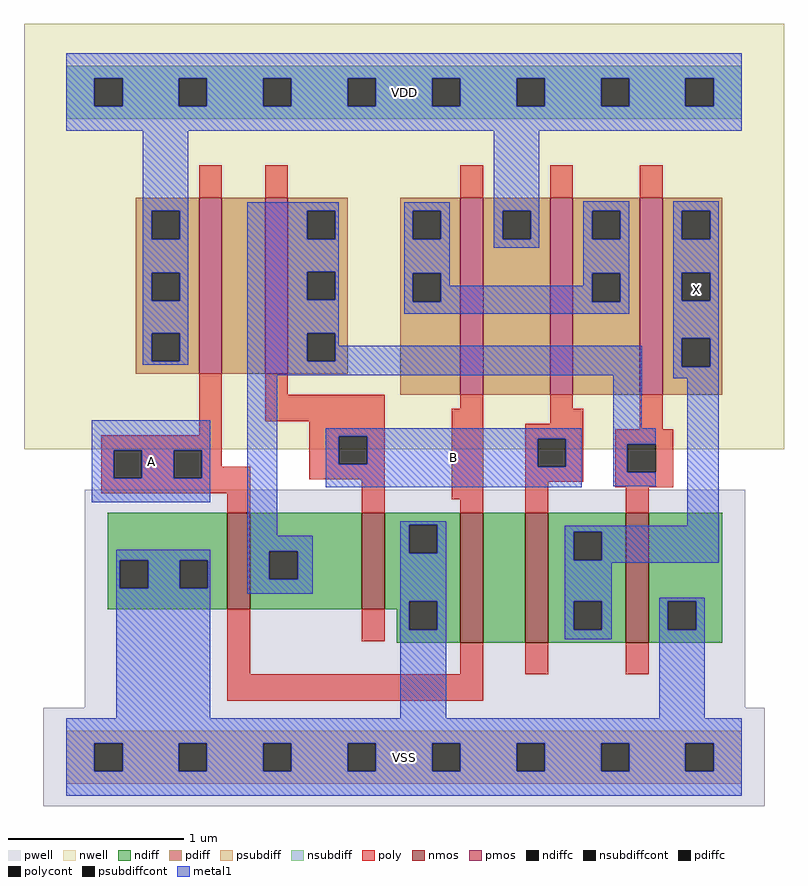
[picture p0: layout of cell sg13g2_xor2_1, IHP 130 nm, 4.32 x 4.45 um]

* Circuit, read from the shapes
.subckt sg13g2_xor2_1 X VDD B A VSS
XM1 n1 A VSS VSS sg13_lv_nmos w=0.55u l=0.13u
XM2 VSS B n1 VSS sg13_lv_nmos w=0.55u l=0.13u
XM3 n2 A VSS VSS sg13_lv_nmos w=0.74u l=0.13u
XM4 X B n2 VSS sg13_lv_nmos w=0.74u l=0.13u
XM5 VSS n1 X VSS sg13_lv_nmos w=0.74u l=0.13u
XM6 n3 A VDD VDD sg13_lv_pmos w=1u l=0.13u
XM7 n1 B n3 VDD sg13_lv_pmos w=1u l=0.13u
XM8 VDD A n4 VDD sg13_lv_pmos w=1.12u l=0.13u
XM9 n4 B VDD VDD sg13_lv_pmos w=1.12u l=0.13u
XM10 X n1 n4 VDD sg13_lv_pmos w=1.12u l=0.13u
.ends

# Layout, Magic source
magic
tech ihp-sg13g2
magscale 1 2
<< nwell >>
rect -48 350 816 834
<< pwell >>
rect 21 56 772 304
rect -26 -56 794 56
<< nmos >>
rect 183 168 209 278
rect 336 168 362 278
rect 448 130 474 278
rect 522 130 548 278
rect 636 130 662 278
<< pmos >>
rect 151 436 177 636
rect 226 436 252 636
rect 448 412 474 636
rect 550 412 576 636
rect 652 412 678 636
<< ndiff >>
rect 47 224 183 278
rect 47 192 61 224
rect 93 192 129 224
rect 161 192 183 224
rect 47 168 183 192
rect 209 234 336 278
rect 209 202 231 234
rect 263 202 336 234
rect 209 168 336 202
rect 362 264 448 278
rect 362 232 390 264
rect 422 232 448 264
rect 362 177 448 232
rect 362 168 390 177
rect 376 145 390 168
rect 422 145 448 177
rect 376 130 448 145
rect 474 130 522 278
rect 548 256 636 278
rect 548 224 577 256
rect 609 224 636 256
rect 548 177 636 224
rect 548 145 577 177
rect 609 145 636 177
rect 548 130 636 145
rect 662 177 746 278
rect 662 145 684 177
rect 716 145 746 177
rect 662 130 746 145
<< pdiff >>
rect 79 621 151 636
rect 79 589 97 621
rect 129 589 151 621
rect 79 551 151 589
rect 79 519 97 551
rect 129 519 151 551
rect 79 482 151 519
rect 79 450 97 482
rect 129 450 151 482
rect 79 436 151 450
rect 177 436 226 636
rect 252 621 320 636
rect 252 589 274 621
rect 306 589 320 621
rect 252 552 320 589
rect 252 520 274 552
rect 306 520 320 552
rect 252 482 320 520
rect 252 450 274 482
rect 306 450 320 482
rect 252 436 320 450
rect 380 621 448 636
rect 380 589 394 621
rect 426 589 448 621
rect 380 550 448 589
rect 380 518 394 550
rect 426 518 448 550
rect 380 412 448 518
rect 474 621 550 636
rect 474 589 496 621
rect 528 589 550 621
rect 474 412 550 589
rect 576 621 652 636
rect 576 589 598 621
rect 630 589 652 621
rect 576 550 652 589
rect 576 518 598 550
rect 630 518 652 550
rect 576 412 652 518
rect 678 621 746 636
rect 678 589 700 621
rect 732 589 746 621
rect 678 551 746 589
rect 678 519 700 551
rect 732 519 746 551
rect 678 476 746 519
rect 678 444 700 476
rect 732 444 746 476
rect 678 412 746 444
<< ndiffc >>
rect 61 192 93 224
rect 129 192 161 224
rect 231 202 263 234
rect 390 232 422 264
rect 390 145 422 177
rect 577 224 609 256
rect 577 145 609 177
rect 684 145 716 177
<< pdiffc >>
rect 97 589 129 621
rect 97 519 129 551
rect 97 450 129 482
rect 274 589 306 621
rect 274 520 306 552
rect 274 450 306 482
rect 394 589 426 621
rect 394 518 426 550
rect 496 589 528 621
rect 598 589 630 621
rect 598 518 630 550
rect 700 589 732 621
rect 700 519 732 551
rect 700 444 732 476
<< psubdiff >>
rect 0 16 768 30
rect 0 -16 32 16
rect 64 -16 128 16
rect 160 -16 224 16
rect 256 -16 320 16
rect 352 -16 416 16
rect 448 -16 512 16
rect 544 -16 608 16
rect 640 -16 704 16
rect 736 -16 768 16
rect 0 -30 768 -16
<< nsubdiff >>
rect 0 772 768 786
rect 0 740 32 772
rect 64 740 128 772
rect 160 740 224 772
rect 256 740 320 772
rect 352 740 416 772
rect 448 740 512 772
rect 544 740 608 772
rect 640 740 704 772
rect 736 740 768 772
rect 0 726 768 740
<< psubdiffcont >>
rect 32 -16 64 16
rect 128 -16 160 16
rect 224 -16 256 16
rect 320 -16 352 16
rect 416 -16 448 16
rect 512 -16 544 16
rect 608 -16 640 16
rect 704 -16 736 16
<< nsubdiffcont >>
rect 32 740 64 772
rect 128 740 160 772
rect 224 740 256 772
rect 320 740 352 772
rect 416 740 448 772
rect 512 740 544 772
rect 608 740 640 772
rect 704 740 736 772
<< poly >>
rect 151 636 177 673
rect 226 636 252 673
rect 448 636 474 673
rect 550 636 576 673
rect 652 636 678 673
rect 151 366 177 436
rect 226 412 252 436
rect 226 382 362 412
rect 448 396 474 412
rect 40 349 177 366
rect 40 317 54 349
rect 86 317 122 349
rect 154 330 177 349
rect 276 365 362 382
rect 276 333 310 365
rect 342 333 362 365
rect 154 317 209 330
rect 40 300 209 317
rect 276 316 362 333
rect 183 278 209 300
rect 336 278 362 316
rect 438 293 474 396
rect 550 396 576 412
rect 550 379 588 396
rect 448 278 474 293
rect 522 362 588 379
rect 652 373 678 412
rect 522 330 536 362
rect 568 330 588 362
rect 522 313 588 330
rect 624 356 690 373
rect 624 324 638 356
rect 670 324 690 356
rect 522 278 548 313
rect 624 307 690 324
rect 636 278 662 307
rect 183 94 209 168
rect 336 132 362 168
rect 448 94 474 130
rect 522 94 548 130
rect 636 94 662 130
rect 183 64 474 94
<< polycont >>
rect 54 317 86 349
rect 122 317 154 349
rect 310 333 342 365
rect 536 330 568 362
rect 638 324 670 356
<< metal1 >>
rect 0 772 768 800
rect 0 740 32 772
rect 64 740 128 772
rect 160 740 224 772
rect 256 740 320 772
rect 352 740 416 772
rect 448 740 512 772
rect 544 740 608 772
rect 640 740 704 772
rect 736 740 768 772
rect 0 712 768 740
rect 87 621 139 712
rect 87 589 97 621
rect 129 589 139 621
rect 87 551 139 589
rect 87 519 97 551
rect 129 519 139 551
rect 87 482 139 519
rect 87 450 97 482
rect 129 450 139 482
rect 87 446 139 450
rect 206 621 310 631
rect 206 589 274 621
rect 306 589 310 621
rect 206 552 310 589
rect 206 520 274 552
rect 306 520 310 552
rect 206 482 310 520
rect 384 621 436 631
rect 384 589 394 621
rect 426 589 436 621
rect 384 550 436 589
rect 486 621 538 712
rect 486 589 496 621
rect 528 589 538 621
rect 486 579 538 589
rect 588 621 640 632
rect 588 589 598 621
rect 630 589 640 621
rect 384 518 394 550
rect 426 536 436 550
rect 588 550 640 589
rect 588 536 598 550
rect 426 518 598 536
rect 630 518 640 550
rect 384 504 640 518
rect 690 621 742 632
rect 690 589 700 621
rect 732 589 742 621
rect 690 551 742 589
rect 690 519 700 551
rect 732 519 742 551
rect 206 450 274 482
rect 306 468 310 482
rect 690 476 742 519
rect 306 450 654 468
rect 206 434 654 450
rect 29 349 164 383
rect 29 317 54 349
rect 86 317 122 349
rect 154 317 164 349
rect 29 290 164 317
rect 206 252 240 434
rect 622 374 654 434
rect 690 444 700 476
rect 732 444 742 476
rect 690 431 742 444
rect 295 365 586 374
rect 295 333 310 365
rect 342 362 586 365
rect 342 333 536 362
rect 295 330 536 333
rect 568 330 586 362
rect 295 307 586 330
rect 622 356 670 374
rect 622 324 638 356
rect 622 308 670 324
rect 380 264 432 268
rect 57 224 164 236
rect 57 192 61 224
rect 93 192 129 224
rect 161 192 164 224
rect 57 44 164 192
rect 206 234 280 252
rect 206 202 231 234
rect 263 202 280 234
rect 206 186 280 202
rect 380 232 390 264
rect 422 232 432 264
rect 706 263 742 431
rect 380 177 432 232
rect 380 145 390 177
rect 422 145 432 177
rect 380 44 432 145
rect 567 256 742 263
rect 567 224 577 256
rect 609 224 742 256
rect 567 221 742 224
rect 567 177 620 221
rect 567 145 577 177
rect 609 145 620 177
rect 567 134 620 145
rect 674 177 726 181
rect 674 145 684 177
rect 716 145 726 177
rect 674 44 726 145
rect 0 16 768 44
rect 0 -16 32 16
rect 64 -16 128 16
rect 160 -16 224 16
rect 256 -16 320 16
rect 352 -16 416 16
rect 448 -16 512 16
rect 544 -16 608 16
rect 640 -16 704 16
rect 736 -16 768 16
rect 0 -44 768 -16
<< labels >>
flabel metal1 s 690 431 742 632 0 FreeSans 400 0 0 0 X
port 2 nsew
flabel metal1 s 0 712 768 800 0 FreeSans 400 0 0 0 VDD
port 3 nsew
flabel metal1 s 295 307 586 374 0 FreeSans 400 0 0 0 B
port 4 nsew
flabel metal1 s 29 290 164 383 0 FreeSans 400 0 0 0 A
port 5 nsew
flabel metal1 s 0 -44 768 44 0 FreeSans 400 0 0 0 VSS
port 6 nsew
<< properties >>
string FIXED_BBOX 0 0 768 756
string GDS_END 35964
string GDS_FILE ../gds/controller.gds
string GDS_START 30614
<< end >>
